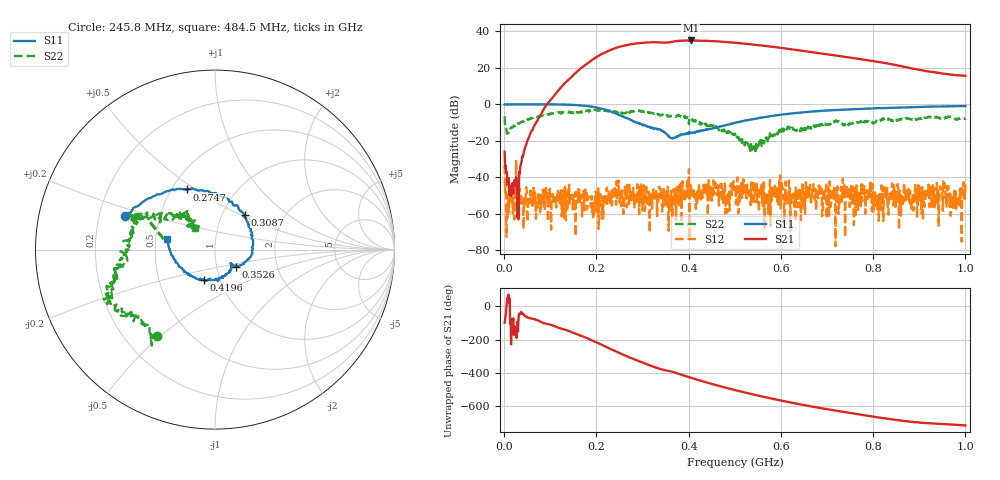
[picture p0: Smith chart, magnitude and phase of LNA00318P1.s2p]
! Created with skrf 1.9.0 (http://scikit-rf.org).
# Hz S RI R 50.0
!freq ReS11 ImS11 ReS21 ImS21 ReS12 ImS12 ReS22 ImS22
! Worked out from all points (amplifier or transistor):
!   1001 points, 1 MHz to 1 GHz, reference 50 ohm
!   highest |S21| = 35.0 dB at 404.6 MHz (marker M1)
!   |S21| within 3 dB of that: 257.2 MHz to 565.8 MHz (308.6 MHz wide, 75 % of centre)
!   unconditionally stable (mu >= 1): 2.385 MHz to 83.41 MHz; 248.4 MHz to 400.5 MHz; 400.7 MHz to end of sweep (the widest 3 of 29)
!   at 166.8 MHz: K = 1.44, MAG = 31.1 dB, |S12| = -50.4 dB
!   at 500.5 MHz: K = 1.61, MAG = 34.6 dB, |S12| = -44.5 dB
!   at 1 GHz: K = 1.91, MAG = 24.3 dB, |S12| = -43.9 dB
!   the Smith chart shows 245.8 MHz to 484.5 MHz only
!   S11 on the Smith chart (normalised r, x): 245.8 MHz: 0.31, +0.16; 274.7 MHz: 0.60, +0.46; 308.7 MHz: 1.28, +0.53; 352.6 MHz: 1.24, -0.24; 419.6 MHz: 0.84, -0.29; 484.5 MHz: 0.57, +0.07
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1000000  0.9893 -0.000561  -0.00633 -0.0501  -0.0185 0.00995  0.3458 0.3213
1.08892e8  0.509 -0.8513  -0.8181 -1.554  0.00117 0.00225  0.4349 -0.3627
1.67833e8  -0.2543 -0.8921  -10.07 -0.5006  -0.00117 0.00311  0.0447 -0.6326
2.1079e8  -0.6791 -0.345  -15.44 17.86  -0.00173 0.000617  -0.2146 -0.6636
2.26774e8  -0.6577 -0.0777  -9.963 27.8  -0.000616 -0.00415  -0.245 -0.5986
2.45755e8  -0.5026 0.1872  2.632 36.28  -0.00333 -0.00161  -0.3204 -0.4833
2.74726e8  -0.1544 0.3349  28.2 34.33  -0.00359 -0.00145  -0.514 -0.3353
3.08692e8  0.1667 0.1948  48.44 11.05  0.000839 0.00532  -0.5581 -0.1726
3.34666e8  0.207 -0.0104  48.97 -10.77  -0.00145 0.00205  -0.5199 -0.0449
3.52648e8  0.1164 -0.0947  44.78 -21.03  0.000349 0.00324  -0.5106 0.048
3.75625e8  0.0916 -0.0946  40.33 -36.85  0.00133 0.00519  -0.4631 0.1755
4.04596e8  0.00738 -0.1677  20.62 -52.5  0.00333 0.00494  -0.3344 0.1676
4.19581e8  -0.0618 -0.1699  8.89 -55.34  0.00281 0.00225  -0.2761 0.1821
4.49551e8  -0.1844 -0.1019  -14.07 -52.33  0.00493 -0.00132  -0.1537 0.2149
4.84516e8  -0.2672 0.0589  -33.48 -38.43  0.00247 0.00288  -0.1134 0.1184
5.005e8  -0.2737 0.147  -39.03 -29.67  -0.000636 0.00595  -0.0859 0.1305
5.4046e8  -0.1817 0.3465  -42.5 -8.058  0.00669 -0.0046  -0.0483 0.0358
5.88412e8  0.0279 0.4936  -34.81 11.98  -6.53e-05 -0.00288  -0.1381 -0.0775
6.67333e8  0.4044 0.4862  -12.68 23.55  0.000627 -0.00264  -0.2369 -0.0387
7.53247e8  0.677 0.2705  3.742 18.43  0.00379 -0.00232  -0.2903 0.039
8.34166e8  0.7954 0.00511  9.316 9.029  -0.00178 -0.00323  -0.3815 0.0658
1e9  0.7192 -0.5355  6.048 0.5198  -0.00434 0.00464  -0.2092 0.3537
